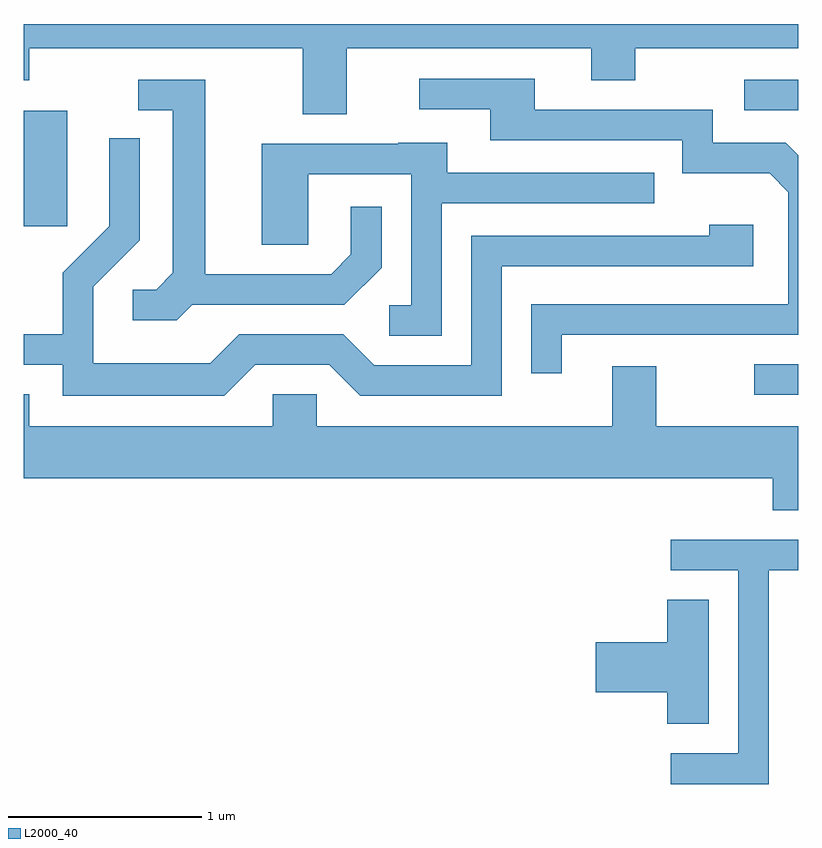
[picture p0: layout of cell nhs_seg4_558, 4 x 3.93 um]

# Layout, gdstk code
import gdstk
lib = gdstk.Library(unit=1e-6, precision=1e-09)
def R(c, l, rs):  # rectangles x0, y0, x1, y1
    for r in rs: c.add(gdstk.rectangle(r[:2], r[2:], *l))
def P(c, l, *ps):  # polygons
    for p in ps: c.add(gdstk.Polygon(p, *l))
L2000_40 = (2000, 40)

nhs_seg4_558 = lib.new_cell('nhs_seg4_558')
R(nhs_seg4_558, L2000_40, [(205.383,1284.066,205.611,1284.224), (201.611,1284.936,201.834,1285.534), (205.333,1285.536,205.611,1285.694)])
P(nhs_seg4_558, L2000_40, [(203.279,1285.856),(204.541,1285.856),(204.541,1285.691),(204.769,1285.691),(204.769,1285.856),(205.611,1285.856),(205.611,1285.982),(201.611,1285.982),(201.611,1285.691),(201.639,1285.691),(201.639,1285.856),(203.051,1285.856),(203.051,1285.516),(203.279,1285.516)],
  [(204.389,1284.376),(205.611,1284.376),(205.611,1285.305),(205.547,1285.369),(205.169,1285.369),(205.169,1285.539),(204.249,1285.539),(204.249,1285.699),(203.653,1285.699),(203.653,1285.541),(204.021,1285.541),(204.021,1285.381),(205.011,1285.381),(205.011,1285.211),(205.464,1285.211),(205.561,1285.114),(205.561,1284.534),(204.231,1284.534),(204.231,1284.178),(204.389,1284.178)],
  [(202.482,1284.531),(203.267,1284.531),(203.459,1284.724),(203.459,1285.038),(203.301,1285.038),(203.301,1284.792),(203.199,1284.689),(202.549,1284.689),(202.549,1285.694),(202.203,1285.694),(202.203,1285.536),(202.381,1285.536),(202.381,1284.697),(202.294,1284.609),(202.173,1284.609),(202.173,1284.451),(202.402,1284.451)],
  [(202.807,1284.221),(203.189,1284.221),(203.349,1284.061),(204.079,1284.061),(204.079,1284.731),(205.379,1284.731),(205.379,1284.944),(205.151,1284.944),(205.151,1284.889),(203.921,1284.889),(203.921,1284.219),(203.422,1284.219),(203.262,1284.379),(202.724,1284.379),(202.574,1284.229),(201.969,1284.229),(201.969,1284.624),(202.209,1284.864),(202.209,1285.393),(202.051,1285.393),(202.051,1284.937),(201.811,1284.697),(201.811,1284.379),(201.611,1284.379),(201.611,1284.221),(201.811,1284.221),(201.811,1284.061),(202.647,1284.061)],
  [(203.769,1285.056),(204.868,1285.056),(204.868,1285.214),(203.799,1285.214),(203.799,1285.369),(203.545,1285.369),(203.545,1285.364),(202.841,1285.364),(202.841,1284.841),(203.079,1284.841),(203.079,1285.206),(203.611,1285.206),(203.611,1284.529),(203.498,1284.529),(203.498,1284.371),(203.769,1284.371)],
  [(205.611,1283.904),(204.879,1283.904),(204.879,1284.214),(204.651,1284.214),(204.651,1283.904),(203.124,1283.904),(203.124,1284.069),(202.896,1284.069),(202.896,1283.904),(201.639,1283.904),(201.639,1284.069),(201.611,1284.069),(201.611,1283.636),(205.481,1283.636),(205.481,1283.471),(205.611,1283.471)],
  [(205.459,1283.161),(205.611,1283.161),(205.611,1283.319),(204.953,1283.319),(204.953,1283.161),(205.301,1283.161),(205.301,1282.214),(204.953,1282.214),(204.953,1282.056),(205.459,1282.056)],
  [(205.149,1283.009),(204.936,1283.009),(204.936,1282.789),(204.566,1282.789),(204.566,1282.531),(204.936,1282.531),(204.936,1282.366),(205.149,1282.366)])

lib.write_gds('nhs_seg4_558.gds')
